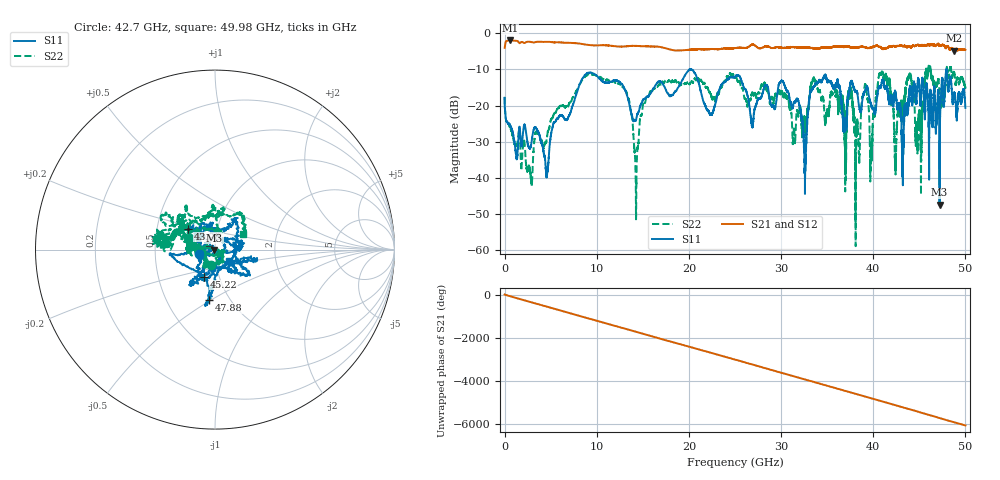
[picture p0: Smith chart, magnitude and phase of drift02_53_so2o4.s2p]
!Created with skrf (http://scikit-rf.org).
# Hz S RI R 50.0
!freq ReS11 ImS11 ReS21 ImS21 ReS12 ImS12 ReS22 ImS22
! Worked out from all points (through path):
!   10001 points, 300 kHz to 50 GHz, reference 50 ohm
!   highest |S21| = -1.99 dB at 585.3 MHz (marker M1); lowest = -4.8 dB at 48.76 GHz (marker M2)
!   group delay of S21, straight-line fit = 337 ps
!   lowest |S11| = -47.4 dB at 47.2 GHz (marker M3), VSWR 1.01, Z = 49.6 - j0.172 ohm
!   |S11| at or under -10 dB: start of sweep to 20.06 GHz; 20.24 GHz to 47.91 GHz (27.67 GHz wide, 81.2 % of centre); 47.96 GHz to end of sweep (the widest 3 of 6)
!   |S22| runs from -58.8 to -9.0 dB; largest |S21 - S12| = 0.031
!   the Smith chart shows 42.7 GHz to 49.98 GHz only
!   S11 on the Smith chart (normalised r, x): 42.7 GHz: 0.84, -0.05; 43.98 GHz: 0.72, +0.17; 45.22 GHz: 0.85, -0.26; 47.88 GHz: 0.81, -0.49; 49.98 GHz: 1.15, -0.15
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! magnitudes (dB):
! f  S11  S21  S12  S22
! 300 kHz  -17.9  -4.0  -4.0  -17.6
! 585.3 MHz  -25.3  -2.0  -2.0  -26.0
! 4.565 GHz  -39.9  -2.4  -2.4  -29.3
! 8.335 GHz  -13.0  -2.9  -2.9  -13.2
! 13.01 GHz  -15.3  -3.6  -3.6  -15.7
! 14.28 GHz  -23.8  -3.5  -3.5  -50.3
! 16.67 GHz  -13.3  -3.7  -3.7  -14.5
! 25 GHz  -12.0  -4.1  -4.1  -12.1
! 30.18 GHz  -13.3  -4.0  -4.1  -16.6
! 32.56 GHz  -38.6  -4.0  -4.0  -23.5
! 33.34 GHz  -15.7  -4.0  -4.1  -13.6
! 37.5 GHz  -14.3  -3.9  -3.8  -15.8
! 38.29 GHz  -16.8  -4.0  -3.9  -24.4
! 41.67 GHz  -18.3  -3.8  -3.9  -12.6
! 42.7 GHz  -20.6  -3.5  -3.5  -21.1
! 43.98 GHz  -14.4  -3.7  -3.7  -11.1
! 45.22 GHz  -15.8  -3.3  -3.3  -28.5
! 47.2 GHz  -47.4  -3.5  -3.4  -16.4
! 47.88 GHz  -11.0  -4.1  -4.1  -12.5
! 48.76 GHz  -16.6  -4.8  -4.8  -10.6
! 49.98 GHz  -19.9  -4.6  -4.5  -14.8
! 50 GHz  -20.6  -4.6  -4.6  -15.3
